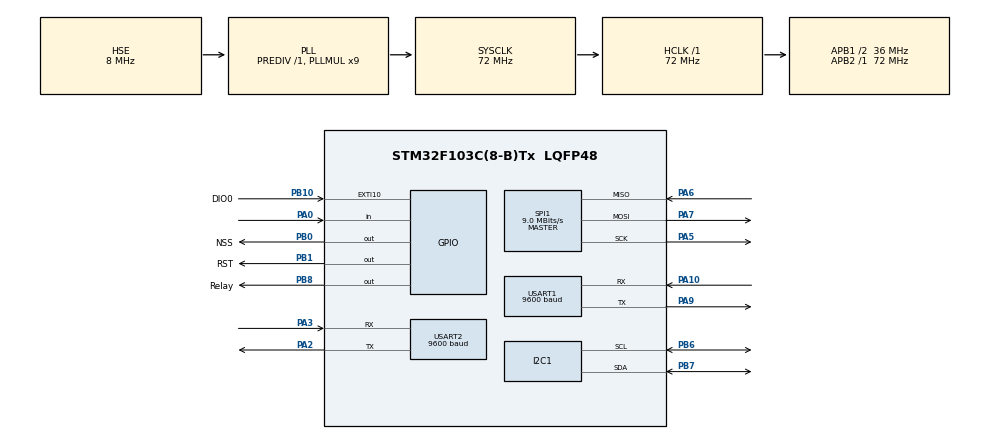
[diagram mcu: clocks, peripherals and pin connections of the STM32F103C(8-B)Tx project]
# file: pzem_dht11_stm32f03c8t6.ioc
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Mcu.Family=STM32F1
Mcu.Name=STM32F103C(8-B)Tx
Mcu.Package=LQFP48
NVIC.PriorityGroup=NVIC_PRIORITYGROUP_4
NVIC.USART1_IRQn=true\:0\:0\:false\:false\:true\:true\:true\:true
PA0-WKUP.Signal=GPIO_Input
PA10.Mode=Asynchronous
PA10.Signal=USART1_RX
PA13.Mode=Serial_Wire
PA13.Signal=SYS_JTMS-SWDIO
PA14.Mode=Serial_Wire
PA14.Signal=SYS_JTCK-SWCLK
PA2.Mode=Asynchronous
PA2.Signal=USART2_TX
PA3.Mode=Asynchronous
PA3.Signal=USART2_RX
PA5.Mode=Full_Duplex_Master
PA5.Signal=SPI1_SCK
PA6.Mode=Full_Duplex_Master
PA6.Signal=SPI1_MISO
PA7.Mode=Full_Duplex_Master
PA7.Signal=SPI1_MOSI
PA9.Mode=Asynchronous
PA9.Signal=USART1_TX
PB0.GPIO_Label=NSS
PB0.PinState=GPIO_PIN_SET
PB0.Signal=GPIO_Output
PB1.GPIO_Label=RST
PB1.GPIO_Speed=GPIO_SPEED_FREQ_LOW
PB1.PinState=GPIO_PIN_SET
PB1.Signal=GPIO_Output
PB10.GPIO_Label=DIO0
PB10.Signal=GPXTI10
PB6.Mode=I2C
PB6.Signal=I2C1_SCL
PB7.Mode=I2C
PB7.Signal=I2C1_SDA
PB8.GPIO_Label=Relay
PB8.PinState=GPIO_PIN_SET
PB8.Signal=GPIO_Output
PD0-OSC_IN.Mode=HSE-External-Oscillator
PD0-OSC_IN.Signal=RCC_OSC_IN
PD1-OSC_OUT.Mode=HSE-External-Oscillator
PD1-OSC_OUT.Signal=RCC_OSC_OUT
ProjectManager.HeapSize=0x200
ProjectManager.StackSize=0x400
ProjectManager.TargetToolchain=STM32CubeIDE
RCC.AHBFreq_Value=72000000
RCC.APB1CLKDivider=RCC_HCLK_DIV2
RCC.APB1Freq_Value=36000000
RCC.APB1TimFreq_Value=72000000
RCC.APB2Freq_Value=72000000
RCC.APB2TimFreq_Value=72000000
RCC.HCLKFreq_Value=72000000
RCC.PLLMUL=RCC_PLL_MUL9
RCC.PLLSourceVirtual=RCC_PLLSOURCE_HSE
RCC.SYSCLKFreq_VALUE=72000000
RCC.SYSCLKSource=RCC_SYSCLKSOURCE_PLLCLK
RCC.USBFreq_Value=72000000
SPI1.BaudRatePrescaler=SPI_BAUDRATEPRESCALER_8
SPI1.CalculateBaudRate=9.0 MBits/s
SPI1.Direction=SPI_DIRECTION_2LINES
SPI1.Mode=SPI_MODE_MASTER
SPI1.VirtualType=VM_MASTER
USART1.BaudRate=9600
USART1.VirtualMode=VM_ASYNC
USART2.BaudRate=9600
USART2.VirtualMode=VM_ASYNC
board=custom

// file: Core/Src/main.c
/* USER CODE BEGIN Header */
/**
  ******************************************************************************
  * @file           : main.c
  * @brief          : Main program body
  ******************************************************************************
  * @attention
  *
  * Copyright (c) 2022 STMicroelectronics.
  * All rights reserved.
  *
  * This software is licensed under terms that can be found in the LICENSE file
  * in the root directory of this software component.
  * If no LICENSE file comes with this software, it is provided AS-IS.
  *
  ******************************************************************************
  */
/* USER CODE END Header */
#include "main.h"

/* USER CODE BEGIN Includes */
#include "pzem004t.h"
#include "DHT.h"
#include "Lora.h"
#include "i2c-lcd.h"
/* USER CODE END Includes */

/* USER CODE BEGIN PTD */
DHT_DataTypedef DHT11_Data;
pzem PZEM;
LoRa myLoRa;
_values printval;
/* USER CODE END PTD */

I2C_HandleTypeDef hi2c1;

SPI_HandleTypeDef hspi1;

UART_HandleTypeDef huart1;
UART_HandleTypeDef huart2;

/* USER CODE BEGIN PV */
float temp_value = 0.0;
float rh_value = 0.0;
float volt = 0.0;
float curr = 0.0;
float power = 0.0;
float energy = 0.0;
float freq = 0.0;
float pf = 0.0;
char value_array[100] = {0};
char i2c_array[100] = {0};
uint8_t start_Lora = 0;
/* USER CODE END PV */

void SystemClock_Config(void);
static void MX_GPIO_Init(void);
static void MX_USART1_UART_Init(void);
static void MX_USART2_UART_Init(void);
static void MX_SPI1_Init(void);
static void MX_I2C1_Init(void);
/* USER CODE BEGIN PFP */
/*void SPI_Voltage_Transmit(LoRa* _LoRa, pzem *pzem);
void SPI_Current_Transmit(LoRa* _LoRa, pzem *pzem);
void SPI_Power_Transmit(LoRa* _LoRa, pzem *pzem);
void SPI_Energy_Transmit(LoRa* _LoRa, pzem *pzem);
void SPI_Frequency_Transmit(LoRa* _LoRa, pzem *pzem);
void SPI_pF_Transmit(LoRa* _LoRa, pzem *pzem);*/
void spi_Transmit(void);
void i2c_LCD_1(void);
void i2c_LCD_2(void);
/* USER CODE END PFP */

/* USER CODE BEGIN 0 */
void spi_Transmit(void)
{
	DHT_GetData(&DHT11_Data);
	temp_value = DHT11_Data.Temperature;
	rh_value = DHT11_Data.Humidity;

	updateValues(&PZEM);
	volt = PZEM.values.voltage;
	curr = PZEM.values.current;
	power = PZEM.values.power;
	energy = PZEM.values.energy;
	freq = PZEM.values.frequency;
	pf = PZEM.values.pf;

	sprintf(value_array, "1,%.1f,%.1f,%.1f,%.3f,%.1f,%.3f,%.1f,%.2f,\r\n", temp_value, rh_value, volt, curr, power, energy, freq, pf);
//	sprintf(value_array, "2,%.1f,%.1f,%.1f,%.3f,%.1f,%.3f,%.1f,%.2f,\r\n", temp_value, rh_value, volt, curr, power, energy, freq, pf);
	LoRa_transmit(&myLoRa, (uint8_t*)value_array, strlen(value_array), 3000); //Default: 3000

	//HAL_UART_Transmit(&huart2, (uint8_t *)value_array, strlen(value_array), 1000);
}

void i2c_LCD_1(void)
{
	updateValues(&PZEM);
	volt = PZEM.values.voltage;
	curr = PZEM.values.current;
	power = PZEM.values.power;
	energy = PZEM.values.energy;
	freq = PZEM.values.frequency;
	pf = PZEM.values.pf;

	lcd_clear_display();
	HAL_Delay(50);

	sprintf(i2c_array, "%.1fV", volt);
	lcd_goto_XY(1, 0);
	lcd_send_string(i2c_array);

	sprintf(i2c_array, "%.3fA", curr);
	lcd_goto_XY(1, 7);
	lcd_send_string(i2c_array);

	sprintf(i2c_array, "%.1fW", power);
	lcd_goto_XY(2, 0);
	lcd_send_string(i2c_array);

	sprintf(i2c_array, "%.3fWh", energy);
	lcd_goto_XY(2, 7);
	lcd_send_string(i2c_array);

	HAL_Delay(2000);
}

void i2c_LCD_2(void)
{
	lcd_clear_display();
	HAL_Delay(50);

	DHT_GetData(&DHT11_Data);
	temp_value = DHT11_Data.Temperature;
	rh_value = DHT11_Data.Humidity;

	updateValues(&PZEM);
	freq = PZEM.values.frequency;
	pf = PZEM.values.pf;

	sprintf(i2c_array, "%.1fHz", freq);
	lcd_goto_XY(1, 0);
	lcd_send_string(i2c_array);

	sprintf(i2c_array, "%.2f", pf);
	lcd_goto_XY(1, 8);
	lcd_send_string(i2c_array);

	sprintf(i2c_array, "%.1fC", temp_value);
	lcd_goto_XY(2, 0);
	lcd_send_string(i2c_array);

	sprintf(i2c_array, "%.1f%%", rh_value);
	lcd_goto_XY(2, 8);
	lcd_send_string(i2c_array);

	HAL_Delay(2000);
}

/* USER CODE END 0 */

int main(void)
{

  /* MCU Configuration--------------------------------------------------------*/

  /* Reset of all peripherals, Initializes the Flash interface and the Systick. */
  HAL_Init();

  /* Configure the system clock */
  SystemClock_Config();

  /* Initialize all configured peripherals */
  MX_GPIO_Init();
  MX_USART1_UART_Init();
  MX_USART2_UART_Init();
  MX_SPI1_Init();
  MX_I2C1_Init();
  /* USER CODE BEGIN 2 */

	//PZEM CONFIG
	init_pzem(&PZEM, &huart1, 0x01);
	HAL_UART_Receive_IT(PZEM.huart, &PZEM.byteRx[0], 1);

	//LORA CONFIG
	myLoRa = newLoRa();
	myLoRa.CS_port = NSS_GPIO_Port;
	myLoRa.CS_pin = NSS_Pin;
	myLoRa.reset_port = RST_GPIO_Port;
	myLoRa.reset_pin = RST_Pin;
	myLoRa.DIO0_port = DIO0_GPIO_Port;
	myLoRa.DIO0_pin = DIO0_Pin;
	myLoRa.hSPIx = &hspi1;

	myLoRa.frequency = 433;             // default = 433 MHz
	myLoRa.spredingFactor = SF_7;            // default = SF_7
	myLoRa.bandWidth = BW_125KHz;       // default = BW_125KHz
	myLoRa.crcRate = CR_4_5;          // default = CR_4_5
	myLoRa.power = POWER_20db;      // default = 20db
	myLoRa.overCurrentProtection = 130;             // default = 100 mA
	myLoRa.preamble = 10;              // default = 8

	LoRa_reset(&myLoRa);
	if (LoRa_init(&myLoRa) == LORA_OK)
	{
		start_Lora = 1;
	}

	//LCD CONFIG
	lcd_init();
	lcd_goto_XY(1, 1);
	lcd_send_string("INTIALIZING...");
	HAL_Delay(1000);

  /* USER CODE END 2 */

  /* Infinite loop */
  while (1)
  {

    /* USER CODE BEGIN 3 */

//	  HAL_GPIO_WritePin(GPIOB, GPIO_PIN_8, 1);
//	  HAL_Delay(2000);
//	  HAL_GPIO_WritePin(GPIOB, GPIO_PIN_8, 0);
//	  HAL_Delay(2000);

	  if(updateValues(&PZEM))
	  {
		  i2c_LCD_2();
		  HAL_Delay(1000);
		  i2c_LCD_1();
		  HAL_Delay(1000);
//		  voltage = getVol(&PZEM);
//		  sprintf(voltageArray, "%1.f", voltage);
//		  HAL_UART_Transmit(&huart1, (uint8_t *)voltageArray, 5, 1000);
		  if(start_Lora == 1)
		  {
			  /*SPI_Voltage_Transmit(&myLoRa, &PZEM);
			  SPI_Current_Transmit(&myLoRa, &PZEM);
			  SPI_Power_Transmit(&myLoRa, &PZEM);
			  SPI_Energy_Transmit(&myLoRa, &PZEM);
			  SPI_Frequency_Transmit(&myLoRa, &PZEM);
			  SPI_pF_Transmit(&myLoRa, &PZEM);*/

			  spi_Transmit();
			  //HAL_GPIO_TogglePin(GPIOC, GPIO_PIN_13);
			  HAL_Delay(60000);
//			  HAL_Delay(65000);
		  }
		  //HAL_UART_Transmit(&huart6, (uint8_t *)"\n\nThe measurement result\n\r\n", 25, HAL_MAX_DELAY);
		  /*
		  printVoltage(&huart2, &PZEM);
		  printCurrent(&huart2, &PZEM);
		  printPower(&huart2, &PZEM);
		  printEnergy(&huart2, &PZEM);
		  printFrequency(&huart2, &PZEM);
		  printpF(&huart2, &PZEM);
		  */
		  //HAL_SuspendTick();

		  //HAL_PWR_EnterSLEEPMode(PWR_MAINREGULATOR_ON, PWR_SLEEPENTRY_WFI);

		  //HAL_ResumeTick();
	  }
  }
  /* USER CODE END 3 */
}

void SystemClock_Config(void)
{
  RCC_OscInitTypeDef RCC_OscInitStruct = {0};
  RCC_ClkInitTypeDef RCC_ClkInitStruct = {0};

  /** Initializes the RCC Oscillators according to the specified parameters
  * in the RCC_OscInitTypeDef structure.
  */
  RCC_OscInitStruct.OscillatorType = RCC_OSCILLATORTYPE_HSE;
  RCC_OscInitStruct.HSEState = RCC_HSE_ON;
  RCC_OscInitStruct.HSEPredivValue = RCC_HSE_PREDIV_DIV1;
  RCC_OscInitStruct.HSIState = RCC_HSI_ON;
  RCC_OscInitStruct.PLL.PLLState = RCC_PLL_ON;
  RCC_OscInitStruct.PLL.PLLSource = RCC_PLLSOURCE_HSE;
  RCC_OscInitStruct.PLL.PLLMUL = RCC_PLL_MUL9;
  if (HAL_RCC_OscConfig(&RCC_OscInitStruct) != HAL_OK)
  {
    Error_Handler();
  }

  /** Initializes the CPU, AHB and APB buses clocks
  */
  RCC_ClkInitStruct.ClockType = RCC_CLOCKTYPE_HCLK|RCC_CLOCKTYPE_SYSCLK
                              |RCC_CLOCKTYPE_PCLK1|RCC_CLOCKTYPE_PCLK2;
  RCC_ClkInitStruct.SYSCLKSource = RCC_SYSCLKSOURCE_PLLCLK;
  RCC_ClkInitStruct.AHBCLKDivider = RCC_SYSCLK_DIV1;
  RCC_ClkInitStruct.APB1CLKDivider = RCC_HCLK_DIV2;
  RCC_ClkInitStruct.APB2CLKDivider = RCC_HCLK_DIV1;

  if (HAL_RCC_ClockConfig(&RCC_ClkInitStruct, FLASH_LATENCY_2) != HAL_OK)
  {
    Error_Handler();
  }
}

static void MX_I2C1_Init(void)
{

  hi2c1.Instance = I2C1;
  hi2c1.Init.ClockSpeed = 100000;
  hi2c1.Init.DutyCycle = I2C_DUTYCYCLE_2;
  hi2c1.Init.OwnAddress1 = 0;
  hi2c1.Init.AddressingMode = I2C_ADDRESSINGMODE_7BIT;
  hi2c1.Init.DualAddressMode = I2C_DUALADDRESS_DISABLE;
  hi2c1.Init.OwnAddress2 = 0;
  hi2c1.Init.GeneralCallMode = I2C_GENERALCALL_DISABLE;
  hi2c1.Init.NoStretchMode = I2C_NOSTRETCH_DISABLE;
  if (HAL_I2C_Init(&hi2c1) != HAL_OK)
  {
    Error_Handler();
  }

}

static void MX_SPI1_Init(void)
{

  /* SPI1 parameter configuration*/
  hspi1.Instance = SPI1;
  hspi1.Init.Mode = SPI_MODE_MASTER;
  hspi1.Init.Direction = SPI_DIRECTION_2LINES;
  hspi1.Init.DataSize = SPI_DATASIZE_8BIT;
  hspi1.Init.CLKPolarity = SPI_POLARITY_LOW;
  hspi1.Init.CLKPhase = SPI_PHASE_1EDGE;
  hspi1.Init.NSS = SPI_NSS_SOFT;
  hspi1.Init.BaudRatePrescaler = SPI_BAUDRATEPRESCALER_8;
  hspi1.Init.FirstBit = SPI_FIRSTBIT_MSB;
  hspi1.Init.TIMode = SPI_TIMODE_DISABLE;
  hspi1.Init.CRCCalculation = SPI_CRCCALCULATION_DISABLE;
  hspi1.Init.CRCPolynomial = 10;
  if (HAL_SPI_Init(&hspi1) != HAL_OK)
  {
    Error_Handler();
  }

}

static void MX_USART1_UART_Init(void)
{

  huart1.Instance = USART1;
  huart1.Init.BaudRate = 9600;
  huart1.Init.WordLength = UART_WORDLENGTH_8B;
  huart1.Init.StopBits = UART_STOPBITS_1;
  huart1.Init.Parity = UART_PARITY_NONE;
  huart1.Init.Mode = UART_MODE_TX_RX;
  huart1.Init.HwFlowCtl = UART_HWCONTROL_NONE;
  huart1.Init.OverSampling = UART_OVERSAMPLING_16;
  if (HAL_UART_Init(&huart1) != HAL_OK)
  {
    Error_Handler();
  }

}

static void MX_USART2_UART_Init(void)
{

  huart2.Instance = USART2;
  huart2.Init.BaudRate = 9600;
  huart2.Init.WordLength = UART_WORDLENGTH_8B;
  huart2.Init.StopBits = UART_STOPBITS_1;
  huart2.Init.Parity = UART_PARITY_NONE;
  huart2.Init.Mode = UART_MODE_TX_RX;
  huart2.Init.HwFlowCtl = UART_HWCONTROL_NONE;
  huart2.Init.OverSampling = UART_OVERSAMPLING_16;
  if (HAL_UART_Init(&huart2) != HAL_OK)
  {
    Error_Handler();
  }

}

static void MX_GPIO_Init(void)
{
  GPIO_InitTypeDef GPIO_InitStruct = {0};

  /* GPIO Ports Clock Enable */
  __HAL_RCC_GPIOD_CLK_ENABLE();
  __HAL_RCC_GPIOA_CLK_ENABLE();
  __HAL_RCC_GPIOB_CLK_ENABLE();

  /*Configure GPIO pin Output Level */
  HAL_GPIO_WritePin(GPIOB, NSS_Pin|RST_Pin|Relay_Pin, GPIO_PIN_SET);

  /*Configure GPIO pin : PA0 */
  GPIO_InitStruct.Pin = GPIO_PIN_0;
  GPIO_InitStruct.Mode = GPIO_MODE_INPUT;
  GPIO_InitStruct.Pull = GPIO_NOPULL;
  HAL_GPIO_Init(GPIOA, &GPIO_InitStruct);

  /*Configure GPIO pins : NSS_Pin RST_Pin Relay_Pin */
  GPIO_InitStruct.Pin = NSS_Pin|RST_Pin|Relay_Pin;
  GPIO_InitStruct.Mode = GPIO_MODE_OUTPUT_PP;
  GPIO_InitStruct.Pull = GPIO_NOPULL;
  GPIO_InitStruct.Speed = GPIO_SPEED_FREQ_LOW;
  HAL_GPIO_Init(GPIOB, &GPIO_InitStruct);

  /*Configure GPIO pin : DIO0_Pin */
  GPIO_InitStruct.Pin = DIO0_Pin;
  GPIO_InitStruct.Mode = GPIO_MODE_IT_RISING;
  GPIO_InitStruct.Pull = GPIO_NOPULL;
  HAL_GPIO_Init(DIO0_GPIO_Port, &GPIO_InitStruct);

}

/* USER CODE BEGIN 4 */

void HAL_UART_RxCpltCallback(UART_HandleTypeDef *huart)
{
	if(PZEM.rxbufferIndex >30)
	{
		 PZEM.rxbufferIndex=0;
	}

	if (huart->Instance == UART_PZEM) //queried which uart is used
	{
		HAL_UART_Receive_IT(PZEM.huart,&PZEM.byteRx[0], 1);
		PZEM.rxBuffer[PZEM.rxbufferIndex] =PZEM.byteRx[0];
		PZEM.rxbufferIndex++;
	}
}

/* USER CODE END 4 */

void Error_Handler(void)
{
  __disable_irq();
  while (1)
  {
  }
}
